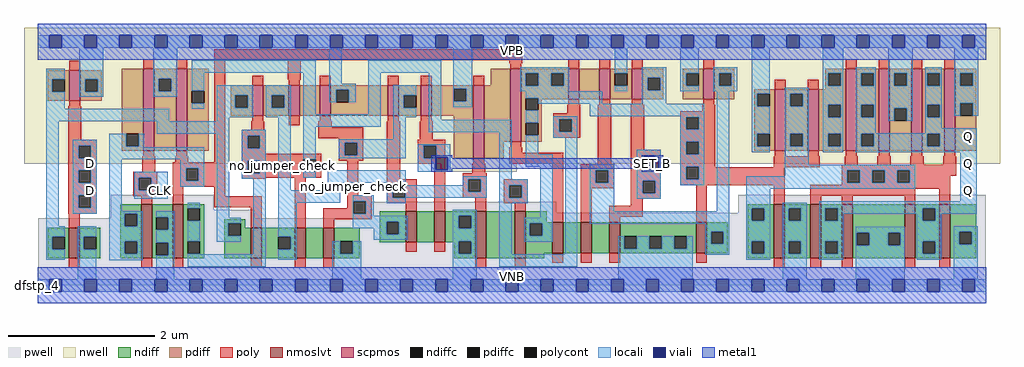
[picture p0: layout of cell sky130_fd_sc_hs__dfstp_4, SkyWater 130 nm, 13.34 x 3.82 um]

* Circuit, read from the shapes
.subckt sky130_fd_sc_hs__dfstp_4 CLK D SET_B VGND VNB VPB VPWR Q
XM1 VGND D n1 VNB sky130_fd_pr__nfet_01v8_lvt w=0.42 l=0.15
XM2 VGND CLK n2 VNB sky130_fd_pr__nfet_01v8_lvt w=0.74 l=0.15
XM3 n3 n2 VGND VNB sky130_fd_pr__nfet_01v8_lvt w=0.74 l=0.15
XM4 n4 n2 n1 VNB sky130_fd_pr__nfet_01v8_lvt w=0.42 l=0.15
XM5 n5 n3 n4 VNB sky130_fd_pr__nfet_01v8_lvt w=0.42 l=0.15
XM6 VGND n6 n5 VNB sky130_fd_pr__nfet_01v8_lvt w=0.42 l=0.15
XM7 n7 n4 n6 VNB sky130_fd_pr__nfet_01v8_lvt w=0.42 l=0.15
XM8 VGND SET_B n7 VNB sky130_fd_pr__nfet_01v8_lvt w=0.42 l=0.15
XM9 n8 n4 VGND VNB sky130_fd_pr__nfet_01v8_lvt w=0.64 l=0.15
XM10 n9 n3 n8 VNB sky130_fd_pr__nfet_01v8_lvt w=0.64 l=0.15
XM11 n10 n2 n9 VNB sky130_fd_pr__nfet_01v8_lvt w=0.42 l=0.15
XM12 n11 n12 n10 VNB sky130_fd_pr__nfet_01v8_lvt w=0.42 l=0.15
XM13 VGND SET_B n11 VNB sky130_fd_pr__nfet_01v8_lvt w=0.42 l=0.15
XM14 n12 n9 VGND VNB sky130_fd_pr__nfet_01v8_lvt w=0.42 l=0.15
XM15 VGND n9 n13 VNB sky130_fd_pr__nfet_01v8_lvt w=0.74 l=0.15
XM16 Q n13 VGND VNB sky130_fd_pr__nfet_01v8_lvt w=0.74 l=0.15 m=4
XM17 VPWR D n1 VPB sky130_fd_pr__pfet_01v8 w=0.42 l=0.15
XM18 VPWR CLK n2 VPB sky130_fd_pr__pfet_01v8 w=1.12 l=0.15
XM19 n3 n2 VPWR VPB sky130_fd_pr__pfet_01v8 w=1.12 l=0.15
XM20 n4 n3 n1 VPB sky130_fd_pr__pfet_01v8 w=0.42 l=0.15
XM21 n14 n2 n4 VPB sky130_fd_pr__pfet_01v8 w=0.42 l=0.15
XM22 VPWR n6 n14 VPB sky130_fd_pr__pfet_01v8 w=0.42 l=0.15
XM23 n6 n4 VPWR VPB sky130_fd_pr__pfet_01v8 w=0.42 l=0.15
XM24 VPWR SET_B n6 VPB sky130_fd_pr__pfet_01v8 w=0.42 l=0.15
XM25 n15 n4 VPWR VPB sky130_fd_pr__pfet_01v8 w=1 l=0.15
XM26 n9 n2 n15 VPB sky130_fd_pr__pfet_01v8 w=1 l=0.15
XM27 n16 n3 n9 VPB sky130_fd_pr__pfet_01v8 w=0.42 l=0.15
XM28 VPWR n12 n16 VPB sky130_fd_pr__pfet_01v8 w=0.42 l=0.15
XM29 n9 SET_B VPWR VPB sky130_fd_pr__pfet_01v8 w=0.42 l=0.15
XM30 n12 n9 VPWR VPB sky130_fd_pr__pfet_01v8 w=0.42 l=0.15
XM31 n13 n9 VPWR VPB sky130_fd_pr__pfet_01v8 w=0.84 l=0.15 m=2
XM32 Q n13 VPWR VPB sky130_fd_pr__pfet_01v8 w=1.12 l=0.15 m=4
.ends

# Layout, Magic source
magic
tech sky130A
magscale 1 2
<< nwell >>
rect -38 332 2630 704
rect 1101 311 1309 332
<< pwell >>
rect 199 207 481 248
rect 199 184 593 207
rect 908 198 1417 228
rect 1914 198 2591 248
rect 908 184 2591 198
rect 1 49 2591 184
rect 0 0 2592 49
<< scpmos >>
rect 86 504 116 588
rect 288 368 318 592
rect 378 368 408 592
rect 586 463 616 547
rect 686 463 716 547
rect 770 463 800 547
rect 957 463 987 547
rect 1047 463 1077 547
rect 1190 347 1220 547
rect 1291 392 1321 592
rect 1450 508 1480 592
rect 1534 508 1564 592
rect 1624 508 1654 592
rect 1819 508 1849 592
rect 2014 368 2044 536
rect 2104 368 2134 536
rect 2208 368 2238 592
rect 2298 368 2328 592
rect 2388 368 2418 592
rect 2478 368 2508 592
<< nmoslvt >>
rect 84 74 114 158
rect 282 74 312 222
rect 368 74 398 222
rect 582 74 612 158
rect 702 74 732 158
rect 780 74 810 158
rect 1005 118 1035 202
rect 1083 118 1113 202
rect 1195 74 1225 202
rect 1304 74 1334 202
rect 1406 88 1436 172
rect 1484 88 1514 172
rect 1562 88 1592 172
rect 1799 88 1829 172
rect 2011 74 2041 222
rect 2111 74 2141 222
rect 2197 74 2227 222
rect 2369 74 2399 222
rect 2464 74 2494 222
<< ndiff >>
rect 225 195 282 222
rect 225 161 237 195
rect 271 161 282 195
rect 27 133 84 158
rect 27 99 39 133
rect 73 99 84 133
rect 27 74 84 99
rect 114 133 171 158
rect 114 99 125 133
rect 159 99 171 133
rect 114 74 171 99
rect 225 120 282 161
rect 225 86 237 120
rect 271 86 282 120
rect 225 74 282 86
rect 312 186 368 222
rect 312 152 323 186
rect 357 152 368 186
rect 312 116 368 152
rect 312 82 323 116
rect 357 82 368 116
rect 312 74 368 82
rect 398 210 455 222
rect 398 176 409 210
rect 443 176 455 210
rect 398 120 455 176
rect 398 86 409 120
rect 443 86 455 120
rect 398 74 455 86
rect 509 169 567 181
rect 509 135 521 169
rect 555 158 567 169
rect 934 174 1005 202
rect 555 135 582 158
rect 509 74 582 135
rect 612 133 702 158
rect 612 99 657 133
rect 691 99 702 133
rect 612 74 702 99
rect 732 74 780 158
rect 810 120 880 158
rect 810 86 827 120
rect 861 86 880 120
rect 934 140 953 174
rect 987 140 1005 174
rect 934 118 1005 140
rect 1035 118 1083 202
rect 1113 190 1195 202
rect 1113 156 1150 190
rect 1184 156 1195 190
rect 1113 120 1195 156
rect 1113 118 1150 120
rect 810 74 880 86
rect 1138 86 1150 118
rect 1184 86 1195 120
rect 1138 74 1195 86
rect 1225 74 1304 202
rect 1334 172 1391 202
rect 1940 210 2011 222
rect 1940 176 1952 210
rect 1986 176 2011 210
rect 1334 169 1406 172
rect 1334 135 1345 169
rect 1379 135 1406 169
rect 1334 88 1406 135
rect 1436 88 1484 172
rect 1514 88 1562 172
rect 1592 134 1799 172
rect 1592 100 1603 134
rect 1637 100 1671 134
rect 1705 100 1740 134
rect 1774 100 1799 134
rect 1592 88 1799 100
rect 1829 147 1886 172
rect 1829 113 1840 147
rect 1874 113 1886 147
rect 1829 88 1886 113
rect 1940 120 2011 176
rect 1334 74 1384 88
rect 1940 86 1952 120
rect 1986 86 2011 120
rect 1940 74 2011 86
rect 2041 210 2111 222
rect 2041 176 2052 210
rect 2086 176 2111 210
rect 2041 120 2111 176
rect 2041 86 2052 120
rect 2086 86 2111 120
rect 2041 74 2111 86
rect 2141 210 2197 222
rect 2141 176 2152 210
rect 2186 176 2197 210
rect 2141 120 2197 176
rect 2141 86 2152 120
rect 2186 86 2197 120
rect 2141 74 2197 86
rect 2227 144 2369 222
rect 2227 110 2238 144
rect 2272 110 2324 144
rect 2358 110 2369 144
rect 2227 74 2369 110
rect 2399 210 2464 222
rect 2399 176 2419 210
rect 2453 176 2464 210
rect 2399 120 2464 176
rect 2399 86 2419 120
rect 2453 86 2464 120
rect 2399 74 2464 86
rect 2494 146 2565 222
rect 2494 112 2519 146
rect 2553 112 2565 146
rect 2494 74 2565 112
<< pdiff >>
rect 27 563 86 588
rect 27 529 39 563
rect 73 529 86 563
rect 27 504 86 529
rect 116 563 175 588
rect 116 529 129 563
rect 163 529 175 563
rect 116 504 175 529
rect 229 414 288 592
rect 229 380 241 414
rect 275 380 288 414
rect 229 368 288 380
rect 318 565 378 592
rect 318 531 331 565
rect 365 531 378 565
rect 318 368 378 531
rect 408 532 467 592
rect 408 498 421 532
rect 455 498 467 532
rect 408 368 467 498
rect 1238 547 1291 592
rect 527 520 586 547
rect 527 486 539 520
rect 573 486 586 520
rect 527 463 586 486
rect 616 520 686 547
rect 616 486 639 520
rect 673 486 686 520
rect 616 463 686 486
rect 716 463 770 547
rect 800 535 957 547
rect 800 501 816 535
rect 850 501 957 535
rect 800 463 957 501
rect 987 520 1047 547
rect 987 486 1000 520
rect 1034 486 1047 520
rect 987 463 1047 486
rect 1077 537 1190 547
rect 1077 503 1137 537
rect 1171 503 1190 537
rect 1077 463 1190 503
rect 1137 347 1190 463
rect 1220 392 1291 547
rect 1321 580 1450 592
rect 1321 546 1334 580
rect 1368 546 1403 580
rect 1437 546 1450 580
rect 1321 512 1450 546
rect 1321 478 1334 512
rect 1368 508 1450 512
rect 1480 508 1534 592
rect 1564 580 1624 592
rect 1564 546 1577 580
rect 1611 546 1624 580
rect 1564 508 1624 546
rect 1654 567 1709 592
rect 1654 533 1667 567
rect 1701 533 1709 567
rect 1654 508 1709 533
rect 1763 580 1819 592
rect 1763 546 1772 580
rect 1806 546 1819 580
rect 1763 508 1819 546
rect 1849 580 1904 592
rect 1849 546 1862 580
rect 1896 546 1904 580
rect 2152 580 2208 592
rect 1849 508 1904 546
rect 2152 546 2161 580
rect 2195 546 2208 580
rect 2152 536 2208 546
rect 1958 524 2014 536
rect 1368 478 1377 508
rect 1321 444 1377 478
rect 1321 410 1334 444
rect 1368 410 1377 444
rect 1321 392 1377 410
rect 1220 347 1273 392
rect 1958 490 1967 524
rect 2001 490 2014 524
rect 1958 414 2014 490
rect 1958 380 1967 414
rect 2001 380 2014 414
rect 1958 368 2014 380
rect 2044 524 2104 536
rect 2044 490 2057 524
rect 2091 490 2104 524
rect 2044 414 2104 490
rect 2044 380 2057 414
rect 2091 380 2104 414
rect 2044 368 2104 380
rect 2134 494 2208 536
rect 2134 460 2161 494
rect 2195 460 2208 494
rect 2134 414 2208 460
rect 2134 380 2161 414
rect 2195 380 2208 414
rect 2134 368 2208 380
rect 2238 580 2298 592
rect 2238 546 2251 580
rect 2285 546 2298 580
rect 2238 494 2298 546
rect 2238 460 2251 494
rect 2285 460 2298 494
rect 2238 414 2298 460
rect 2238 380 2251 414
rect 2285 380 2298 414
rect 2238 368 2298 380
rect 2328 580 2388 592
rect 2328 546 2341 580
rect 2375 546 2388 580
rect 2328 484 2388 546
rect 2328 450 2341 484
rect 2375 450 2388 484
rect 2328 368 2388 450
rect 2418 580 2478 592
rect 2418 546 2431 580
rect 2465 546 2478 580
rect 2418 494 2478 546
rect 2418 460 2431 494
rect 2465 460 2478 494
rect 2418 414 2478 460
rect 2418 380 2431 414
rect 2465 380 2478 414
rect 2418 368 2478 380
rect 2508 580 2565 592
rect 2508 546 2521 580
rect 2555 546 2565 580
rect 2508 498 2565 546
rect 2508 464 2521 498
rect 2555 464 2565 498
rect 2508 368 2565 464
<< ndiffc >>
rect 237 161 271 195
rect 39 99 73 133
rect 125 99 159 133
rect 237 86 271 120
rect 323 152 357 186
rect 323 82 357 116
rect 409 176 443 210
rect 409 86 443 120
rect 521 135 555 169
rect 657 99 691 133
rect 827 86 861 120
rect 953 140 987 174
rect 1150 156 1184 190
rect 1150 86 1184 120
rect 1952 176 1986 210
rect 1345 135 1379 169
rect 1603 100 1637 134
rect 1671 100 1705 134
rect 1740 100 1774 134
rect 1840 113 1874 147
rect 1952 86 1986 120
rect 2052 176 2086 210
rect 2052 86 2086 120
rect 2152 176 2186 210
rect 2152 86 2186 120
rect 2238 110 2272 144
rect 2324 110 2358 144
rect 2419 176 2453 210
rect 2419 86 2453 120
rect 2519 112 2553 146
<< pdiffc >>
rect 39 529 73 563
rect 129 529 163 563
rect 241 380 275 414
rect 331 531 365 565
rect 421 498 455 532
rect 539 486 573 520
rect 639 486 673 520
rect 816 501 850 535
rect 1000 486 1034 520
rect 1137 503 1171 537
rect 1334 546 1368 580
rect 1403 546 1437 580
rect 1334 478 1368 512
rect 1577 546 1611 580
rect 1667 533 1701 567
rect 1772 546 1806 580
rect 1862 546 1896 580
rect 2161 546 2195 580
rect 1334 410 1368 444
rect 1967 490 2001 524
rect 1967 380 2001 414
rect 2057 490 2091 524
rect 2057 380 2091 414
rect 2161 460 2195 494
rect 2161 380 2195 414
rect 2251 546 2285 580
rect 2251 460 2285 494
rect 2251 380 2285 414
rect 2341 546 2375 580
rect 2341 450 2375 484
rect 2431 546 2465 580
rect 2431 460 2465 494
rect 2431 380 2465 414
rect 2521 546 2555 580
rect 2521 464 2555 498
<< poly >>
rect 86 588 116 614
rect 288 592 318 618
rect 378 592 408 618
rect 482 615 1324 645
rect 86 489 116 504
rect 83 398 119 489
rect 83 382 161 398
rect 83 348 111 382
rect 145 348 161 382
rect 288 353 318 368
rect 378 353 408 368
rect 83 314 161 348
rect 83 280 111 314
rect 145 280 161 314
rect 285 310 321 353
rect 375 336 411 353
rect 482 336 512 615
rect 586 547 616 573
rect 683 562 719 615
rect 1288 607 1324 615
rect 1291 592 1321 607
rect 1450 592 1480 618
rect 1534 592 1564 618
rect 1624 592 1654 618
rect 1819 592 1849 618
rect 2208 592 2238 618
rect 2298 592 2328 618
rect 2388 592 2418 618
rect 2478 592 2508 618
rect 686 547 716 562
rect 770 547 800 573
rect 957 547 987 573
rect 1047 547 1077 573
rect 1190 547 1220 573
rect 586 448 616 463
rect 583 425 619 448
rect 686 437 716 463
rect 770 448 800 463
rect 957 448 987 463
rect 1047 448 1077 463
rect 767 432 803 448
rect 368 320 512 336
rect 83 246 161 280
rect 83 212 111 246
rect 145 212 161 246
rect 260 294 326 310
rect 260 260 276 294
rect 310 260 326 294
rect 260 244 326 260
rect 368 286 405 320
rect 439 286 512 320
rect 557 409 623 425
rect 557 375 573 409
rect 607 375 623 409
rect 767 402 889 432
rect 557 360 623 375
rect 823 390 889 402
rect 557 344 775 360
rect 557 341 725 344
rect 557 307 573 341
rect 607 310 725 341
rect 759 310 775 344
rect 823 356 839 390
rect 873 356 889 390
rect 823 340 889 356
rect 607 307 775 310
rect 557 294 775 307
rect 557 291 623 294
rect 368 270 512 286
rect 282 222 312 244
rect 368 222 398 270
rect 482 243 512 270
rect 83 196 161 212
rect 84 158 114 196
rect 482 213 612 243
rect 582 158 612 213
rect 702 158 732 294
rect 846 246 876 340
rect 954 290 990 448
rect 1044 398 1080 448
rect 1039 382 1113 398
rect 1039 348 1055 382
rect 1089 348 1113 382
rect 1039 332 1113 348
rect 2014 536 2044 562
rect 2104 536 2134 562
rect 1450 493 1480 508
rect 1534 493 1564 508
rect 1624 493 1654 508
rect 1819 493 1849 508
rect 1447 470 1483 493
rect 1409 454 1483 470
rect 1409 420 1425 454
rect 1459 420 1483 454
rect 1409 404 1483 420
rect 1291 377 1321 392
rect 1288 362 1324 377
rect 1190 332 1220 347
rect 1288 332 1436 362
rect 954 274 1035 290
rect 846 230 912 246
rect 846 210 862 230
rect 780 196 862 210
rect 896 196 912 230
rect 954 240 970 274
rect 1004 240 1035 274
rect 954 224 1035 240
rect 1005 202 1035 224
rect 1083 202 1113 332
rect 1187 306 1223 332
rect 1161 290 1227 306
rect 1161 256 1177 290
rect 1211 256 1227 290
rect 1161 240 1227 256
rect 1273 274 1339 290
rect 1273 240 1289 274
rect 1323 240 1339 274
rect 1195 202 1225 240
rect 1273 224 1339 240
rect 1304 202 1334 224
rect 780 180 912 196
rect 780 158 810 180
rect 1005 92 1035 118
rect 1083 92 1113 118
rect 1406 172 1436 332
rect 1531 331 1567 493
rect 1621 370 1657 493
rect 1816 476 1852 493
rect 1756 460 1852 476
rect 1756 426 1772 460
rect 1806 426 1852 460
rect 1756 392 1852 426
rect 1621 354 1703 370
rect 1484 315 1575 331
rect 1484 281 1525 315
rect 1559 281 1575 315
rect 1484 265 1575 281
rect 1621 320 1653 354
rect 1687 320 1703 354
rect 1621 286 1703 320
rect 1484 172 1514 265
rect 1621 252 1653 286
rect 1687 252 1703 286
rect 1756 358 1772 392
rect 1806 358 1852 392
rect 1756 324 1852 358
rect 2014 353 2044 368
rect 2104 353 2134 368
rect 2208 353 2238 368
rect 2298 353 2328 368
rect 2388 353 2418 368
rect 2478 353 2508 368
rect 1756 290 1772 324
rect 1806 323 1852 324
rect 2011 323 2137 353
rect 2205 330 2241 353
rect 2295 330 2331 353
rect 2385 330 2421 353
rect 2475 330 2511 353
rect 1806 290 2041 323
rect 1756 274 2041 290
rect 2197 314 2511 330
rect 2197 280 2213 314
rect 2247 280 2281 314
rect 2315 280 2349 314
rect 2383 300 2511 314
rect 2383 280 2494 300
rect 2197 275 2494 280
rect 1621 236 1703 252
rect 1621 217 1653 236
rect 1562 187 1653 217
rect 1562 172 1592 187
rect 1799 172 1829 274
rect 2011 222 2041 274
rect 2111 264 2494 275
rect 2111 245 2399 264
rect 2111 222 2141 245
rect 2197 222 2227 245
rect 2369 222 2399 245
rect 2464 222 2494 264
rect 84 48 114 74
rect 282 48 312 74
rect 368 48 398 74
rect 582 48 612 74
rect 702 48 732 74
rect 780 48 810 74
rect 1195 48 1225 74
rect 1304 48 1334 74
rect 1406 62 1436 88
rect 1484 62 1514 88
rect 1562 62 1592 88
rect 1799 62 1829 88
rect 2011 48 2041 74
rect 2111 48 2141 74
rect 2197 48 2227 74
rect 2369 48 2399 74
rect 2464 48 2494 74
<< polycont >>
rect 111 348 145 382
rect 111 280 145 314
rect 111 212 145 246
rect 276 260 310 294
rect 405 286 439 320
rect 573 375 607 409
rect 573 307 607 341
rect 725 310 759 344
rect 839 356 873 390
rect 1055 348 1089 382
rect 1425 420 1459 454
rect 862 196 896 230
rect 970 240 1004 274
rect 1177 256 1211 290
rect 1289 240 1323 274
rect 1772 426 1806 460
rect 1525 281 1559 315
rect 1653 320 1687 354
rect 1653 252 1687 286
rect 1772 358 1806 392
rect 1772 290 1806 324
rect 2213 280 2247 314
rect 2281 280 2315 314
rect 2349 280 2383 314
<< locali >>
rect 0 649 31 683
rect 65 649 127 683
rect 161 649 223 683
rect 257 649 319 683
rect 353 649 415 683
rect 449 649 511 683
rect 545 649 607 683
rect 641 649 703 683
rect 737 649 799 683
rect 833 649 895 683
rect 929 649 991 683
rect 1025 649 1087 683
rect 1121 649 1183 683
rect 1217 649 1279 683
rect 1313 649 1375 683
rect 1409 649 1471 683
rect 1505 649 1567 683
rect 1601 649 1663 683
rect 1697 649 1759 683
rect 1793 649 1855 683
rect 1889 649 1951 683
rect 1985 649 2047 683
rect 2081 649 2143 683
rect 2177 649 2239 683
rect 2273 649 2335 683
rect 2369 649 2431 683
rect 2465 649 2527 683
rect 2561 649 2592 683
rect 23 563 73 592
rect 23 529 39 563
rect 23 482 73 529
rect 113 563 179 649
rect 113 529 129 563
rect 163 529 179 563
rect 113 516 179 529
rect 315 565 381 649
rect 315 531 331 565
rect 365 531 381 565
rect 315 516 381 531
rect 421 581 759 615
rect 421 532 455 581
rect 421 482 455 498
rect 489 520 589 547
rect 489 486 539 520
rect 573 486 589 520
rect 23 448 359 482
rect 489 459 589 486
rect 623 520 691 547
rect 623 486 639 520
rect 673 486 691 520
rect 623 459 691 486
rect 489 448 523 459
rect 23 162 57 448
rect 325 414 523 448
rect 95 382 161 398
rect 95 348 111 382
rect 145 348 161 382
rect 95 314 161 348
rect 95 280 111 314
rect 145 280 161 314
rect 95 246 161 280
rect 95 212 111 246
rect 145 212 161 246
rect 95 196 161 212
rect 195 380 241 414
rect 275 380 291 414
rect 195 378 291 380
rect 195 344 455 378
rect 195 202 229 344
rect 389 320 455 344
rect 263 294 355 310
rect 263 260 276 294
rect 310 260 355 294
rect 389 286 405 320
rect 439 286 455 320
rect 389 270 455 286
rect 263 236 355 260
rect 409 210 443 226
rect 195 195 287 202
rect 23 133 73 162
rect 23 99 39 133
rect 23 70 73 99
rect 109 133 159 162
rect 109 99 125 133
rect 109 17 159 99
rect 195 161 237 195
rect 271 161 287 195
rect 195 120 287 161
rect 195 86 237 120
rect 271 86 287 120
rect 195 68 287 86
rect 323 186 373 202
rect 357 152 373 186
rect 323 116 373 152
rect 357 82 373 116
rect 323 17 373 82
rect 409 120 443 176
rect 489 185 523 414
rect 557 409 623 425
rect 557 375 573 409
rect 607 375 623 409
rect 557 341 623 375
rect 557 307 573 341
rect 607 307 623 341
rect 557 291 623 307
rect 489 169 555 185
rect 489 135 521 169
rect 489 119 555 135
rect 409 85 443 86
rect 589 85 623 291
rect 409 51 623 85
rect 657 260 691 459
rect 725 467 759 581
rect 797 551 831 649
rect 903 581 1102 615
rect 797 535 869 551
rect 797 501 816 535
rect 850 501 869 535
rect 903 467 937 581
rect 725 433 937 467
rect 971 520 1034 547
rect 971 486 1000 520
rect 971 459 1034 486
rect 725 344 759 433
rect 971 399 1005 459
rect 1068 453 1102 581
rect 1136 537 1188 649
rect 1136 503 1137 537
rect 1171 503 1188 537
rect 1318 580 1453 596
rect 1318 546 1334 580
rect 1368 546 1403 580
rect 1437 546 1453 580
rect 1318 530 1453 546
rect 1577 580 1611 649
rect 1577 530 1611 546
rect 1651 567 1717 596
rect 1651 533 1667 567
rect 1701 533 1717 567
rect 1136 487 1188 503
rect 1334 512 1543 530
rect 1368 496 1543 512
rect 1651 496 1717 533
rect 1756 580 1806 649
rect 1756 546 1772 580
rect 1756 530 1806 546
rect 1846 580 1912 596
rect 1846 546 1862 580
rect 1896 546 1912 580
rect 1846 530 1912 546
rect 1068 419 1295 453
rect 823 390 1005 399
rect 823 356 839 390
rect 873 356 1005 390
rect 823 348 1005 356
rect 1039 382 1127 385
rect 1039 348 1055 382
rect 1089 350 1127 382
rect 1039 316 1087 348
rect 1121 316 1127 350
rect 725 294 759 310
rect 793 280 1005 314
rect 1039 310 1127 316
rect 793 260 827 280
rect 657 226 827 260
rect 954 274 1005 280
rect 1161 290 1227 298
rect 1161 274 1177 290
rect 861 230 918 246
rect 657 133 707 226
rect 861 196 862 230
rect 896 196 918 230
rect 954 240 970 274
rect 1004 256 1177 274
rect 1211 256 1227 290
rect 1004 240 1227 256
rect 1261 290 1295 419
rect 1334 444 1368 478
rect 1509 462 1822 496
rect 1334 358 1368 410
rect 1409 454 1475 462
rect 1409 420 1425 454
rect 1459 420 1475 454
rect 1409 404 1475 420
rect 1334 324 1407 358
rect 1261 274 1339 290
rect 1261 240 1289 274
rect 1323 240 1339 274
rect 954 224 1005 240
rect 1261 224 1339 240
rect 861 190 918 196
rect 1134 190 1200 206
rect 861 174 1010 190
rect 861 156 953 174
rect 691 99 707 133
rect 918 140 953 156
rect 987 140 1010 174
rect 918 124 1010 140
rect 1134 156 1150 190
rect 1184 156 1200 190
rect 1134 120 1200 156
rect 657 70 707 99
rect 805 86 827 120
rect 861 86 884 120
rect 805 17 884 86
rect 1134 86 1150 120
rect 1184 86 1200 120
rect 1134 17 1200 86
rect 1261 85 1295 224
rect 1373 185 1407 324
rect 1329 169 1407 185
rect 1329 135 1345 169
rect 1379 135 1407 169
rect 1329 119 1407 135
rect 1441 85 1475 404
rect 1756 460 1822 462
rect 1756 426 1772 460
rect 1806 426 1822 460
rect 1756 392 1822 426
rect 1637 354 1703 370
rect 1509 315 1575 331
rect 1509 281 1525 315
rect 1559 281 1575 315
rect 1509 202 1575 281
rect 1637 320 1653 354
rect 1687 350 1703 354
rect 1637 316 1663 320
rect 1697 316 1703 350
rect 1637 286 1703 316
rect 1637 252 1653 286
rect 1687 252 1703 286
rect 1756 358 1772 392
rect 1806 358 1822 392
rect 1756 324 1822 358
rect 1756 290 1772 324
rect 1806 290 1822 324
rect 1756 274 1822 290
rect 1637 236 1703 252
rect 1856 202 1890 530
rect 1951 524 2001 649
rect 2145 580 2201 649
rect 2145 546 2161 580
rect 2195 546 2201 580
rect 1951 490 1967 524
rect 1951 414 2001 490
rect 1951 380 1967 414
rect 1951 364 2001 380
rect 2041 524 2107 540
rect 2041 490 2057 524
rect 2091 490 2107 524
rect 2041 414 2107 490
rect 2041 380 2057 414
rect 2091 380 2107 414
rect 2041 330 2107 380
rect 2145 494 2201 546
rect 2145 460 2161 494
rect 2195 460 2201 494
rect 2145 414 2201 460
rect 2145 380 2161 414
rect 2195 380 2201 414
rect 2145 364 2201 380
rect 2235 580 2291 596
rect 2235 546 2251 580
rect 2285 546 2291 580
rect 2235 494 2291 546
rect 2235 460 2251 494
rect 2285 460 2291 494
rect 2235 416 2291 460
rect 2325 580 2391 649
rect 2325 546 2341 580
rect 2375 546 2391 580
rect 2325 484 2391 546
rect 2325 450 2341 484
rect 2375 450 2391 484
rect 2425 580 2471 596
rect 2425 546 2431 580
rect 2465 546 2471 580
rect 2425 494 2471 546
rect 2425 460 2431 494
rect 2465 460 2471 494
rect 2505 580 2571 649
rect 2505 546 2521 580
rect 2555 546 2571 580
rect 2505 498 2571 546
rect 2505 464 2521 498
rect 2555 464 2571 498
rect 2425 430 2471 460
rect 2425 416 2567 430
rect 2235 414 2567 416
rect 2235 380 2251 414
rect 2285 380 2431 414
rect 2465 380 2567 414
rect 2235 364 2567 380
rect 2041 314 2399 330
rect 2041 298 2213 314
rect 1509 168 1890 202
rect 1824 147 1890 168
rect 1261 51 1475 85
rect 1587 100 1603 134
rect 1637 100 1671 134
rect 1705 100 1740 134
rect 1774 100 1790 134
rect 1587 17 1790 100
rect 1824 113 1840 147
rect 1874 113 1890 147
rect 1824 84 1890 113
rect 1936 280 2213 298
rect 2247 280 2281 314
rect 2315 280 2349 314
rect 2383 280 2399 314
rect 1936 264 2399 280
rect 1936 210 2002 264
rect 2521 230 2567 364
rect 1936 176 1952 210
rect 1986 176 2002 210
rect 1936 120 2002 176
rect 1936 86 1952 120
rect 1986 86 2002 120
rect 1936 70 2002 86
rect 2036 210 2102 226
rect 2036 176 2052 210
rect 2086 176 2102 210
rect 2036 120 2102 176
rect 2036 86 2052 120
rect 2086 86 2102 120
rect 2036 17 2102 86
rect 2136 210 2567 230
rect 2136 176 2152 210
rect 2186 196 2419 210
rect 2186 176 2202 196
rect 2136 120 2202 176
rect 2403 176 2419 196
rect 2453 196 2567 210
rect 2453 176 2469 196
rect 2136 86 2152 120
rect 2186 86 2202 120
rect 2136 70 2202 86
rect 2236 144 2369 160
rect 2236 110 2238 144
rect 2272 110 2324 144
rect 2358 110 2369 144
rect 2236 17 2369 110
rect 2403 120 2469 176
rect 2403 86 2419 120
rect 2453 86 2469 120
rect 2403 70 2469 86
rect 2503 146 2569 162
rect 2503 112 2519 146
rect 2553 112 2569 146
rect 2503 17 2569 112
rect 0 -17 31 17
rect 65 -17 127 17
rect 161 -17 223 17
rect 257 -17 319 17
rect 353 -17 415 17
rect 449 -17 511 17
rect 545 -17 607 17
rect 641 -17 703 17
rect 737 -17 799 17
rect 833 -17 895 17
rect 929 -17 991 17
rect 1025 -17 1087 17
rect 1121 -17 1183 17
rect 1217 -17 1279 17
rect 1313 -17 1375 17
rect 1409 -17 1471 17
rect 1505 -17 1567 17
rect 1601 -17 1663 17
rect 1697 -17 1759 17
rect 1793 -17 1855 17
rect 1889 -17 1951 17
rect 1985 -17 2047 17
rect 2081 -17 2143 17
rect 2177 -17 2239 17
rect 2273 -17 2335 17
rect 2369 -17 2431 17
rect 2465 -17 2527 17
rect 2561 -17 2592 17
<< viali >>
rect 31 649 65 683
rect 127 649 161 683
rect 223 649 257 683
rect 319 649 353 683
rect 415 649 449 683
rect 511 649 545 683
rect 607 649 641 683
rect 703 649 737 683
rect 799 649 833 683
rect 895 649 929 683
rect 991 649 1025 683
rect 1087 649 1121 683
rect 1183 649 1217 683
rect 1279 649 1313 683
rect 1375 649 1409 683
rect 1471 649 1505 683
rect 1567 649 1601 683
rect 1663 649 1697 683
rect 1759 649 1793 683
rect 1855 649 1889 683
rect 1951 649 1985 683
rect 2047 649 2081 683
rect 2143 649 2177 683
rect 2239 649 2273 683
rect 2335 649 2369 683
rect 2431 649 2465 683
rect 2527 649 2561 683
rect 1087 348 1089 350
rect 1089 348 1121 350
rect 1087 316 1121 348
rect 1663 320 1687 350
rect 1687 320 1697 350
rect 1663 316 1697 320
rect 31 -17 65 17
rect 127 -17 161 17
rect 223 -17 257 17
rect 319 -17 353 17
rect 415 -17 449 17
rect 511 -17 545 17
rect 607 -17 641 17
rect 703 -17 737 17
rect 799 -17 833 17
rect 895 -17 929 17
rect 991 -17 1025 17
rect 1087 -17 1121 17
rect 1183 -17 1217 17
rect 1279 -17 1313 17
rect 1375 -17 1409 17
rect 1471 -17 1505 17
rect 1567 -17 1601 17
rect 1663 -17 1697 17
rect 1759 -17 1793 17
rect 1855 -17 1889 17
rect 1951 -17 1985 17
rect 2047 -17 2081 17
rect 2143 -17 2177 17
rect 2239 -17 2273 17
rect 2335 -17 2369 17
rect 2431 -17 2465 17
rect 2527 -17 2561 17
<< metal1 >>
rect 0 683 2592 715
rect 0 649 31 683
rect 65 649 127 683
rect 161 649 223 683
rect 257 649 319 683
rect 353 649 415 683
rect 449 649 511 683
rect 545 649 607 683
rect 641 649 703 683
rect 737 649 799 683
rect 833 649 895 683
rect 929 649 991 683
rect 1025 649 1087 683
rect 1121 649 1183 683
rect 1217 649 1279 683
rect 1313 649 1375 683
rect 1409 649 1471 683
rect 1505 649 1567 683
rect 1601 649 1663 683
rect 1697 649 1759 683
rect 1793 649 1855 683
rect 1889 649 1951 683
rect 1985 649 2047 683
rect 2081 649 2143 683
rect 2177 649 2239 683
rect 2273 649 2335 683
rect 2369 649 2431 683
rect 2465 649 2527 683
rect 2561 649 2592 683
rect 0 617 2592 649
rect 1075 350 1133 356
rect 1075 316 1087 350
rect 1121 347 1133 350
rect 1651 350 1709 356
rect 1651 347 1663 350
rect 1121 319 1663 347
rect 1121 316 1133 319
rect 1075 310 1133 316
rect 1651 316 1663 319
rect 1697 316 1709 350
rect 1651 310 1709 316
rect 0 17 2592 49
rect 0 -17 31 17
rect 65 -17 127 17
rect 161 -17 223 17
rect 257 -17 319 17
rect 353 -17 415 17
rect 449 -17 511 17
rect 545 -17 607 17
rect 641 -17 703 17
rect 737 -17 799 17
rect 833 -17 895 17
rect 929 -17 991 17
rect 1025 -17 1087 17
rect 1121 -17 1183 17
rect 1217 -17 1279 17
rect 1313 -17 1375 17
rect 1409 -17 1471 17
rect 1505 -17 1567 17
rect 1601 -17 1663 17
rect 1697 -17 1759 17
rect 1793 -17 1855 17
rect 1889 -17 1951 17
rect 1985 -17 2047 17
rect 2081 -17 2143 17
rect 2177 -17 2239 17
rect 2273 -17 2335 17
rect 2369 -17 2431 17
rect 2465 -17 2527 17
rect 2561 -17 2592 17
rect 0 -49 2592 -17
<< labels >>
rlabel comment s 0 0 0 0 4 dfstp_4
flabel comment s 863 271 863 271 0 FreeSans 200 0 0 0 no_jumper_check
flabel comment s 670 327 670 327 0 FreeSans 200 0 0 0 no_jumper_check
flabel pwell s 0 0 2592 49 0 FreeSans 200 0 0 0 VNB
port 5 nsew ground bidirectional
flabel nwell s 0 617 2592 666 0 FreeSans 200 0 0 0 VPB
port 6 nsew power bidirectional
flabel metal1 s 1663 316 1697 350 0 FreeSans 340 0 0 0 SET_B
port 3 nsew signal input
flabel metal1 s 0 617 2592 666 0 FreeSans 340 0 0 0 VPWR
port 7 nsew power bidirectional
flabel metal1 s 0 0 2592 49 0 FreeSans 340 0 0 0 VGND
port 4 nsew ground bidirectional
flabel locali s 319 242 353 276 0 FreeSans 340 0 0 0 CLK
port 1 nsew clock input
flabel locali s 127 242 161 276 0 FreeSans 340 0 0 0 D
port 2 nsew signal input
flabel locali s 127 316 161 350 0 FreeSans 340 0 0 0 D
port 2 nsew signal input
flabel locali s 2527 242 2561 276 0 FreeSans 340 0 0 0 Q
port 8 nsew signal output
flabel locali s 2527 316 2561 350 0 FreeSans 340 0 0 0 Q
port 8 nsew signal output
flabel locali s 2527 390 2561 424 0 FreeSans 340 0 0 0 Q
port 8 nsew signal output
<< properties >>
string LEFsite unit
string LEFclass CORE
string FIXED_BBOX 0 0 2592 666
string GDS_FILE $PDKPATH/libs.ref/sky130_fd_sc_hs/gds/sky130_fd_sc_hs.gds
string LEFsymmetry X Y
string GDS_END 255926
string GDS_START 237128
<< end >>
